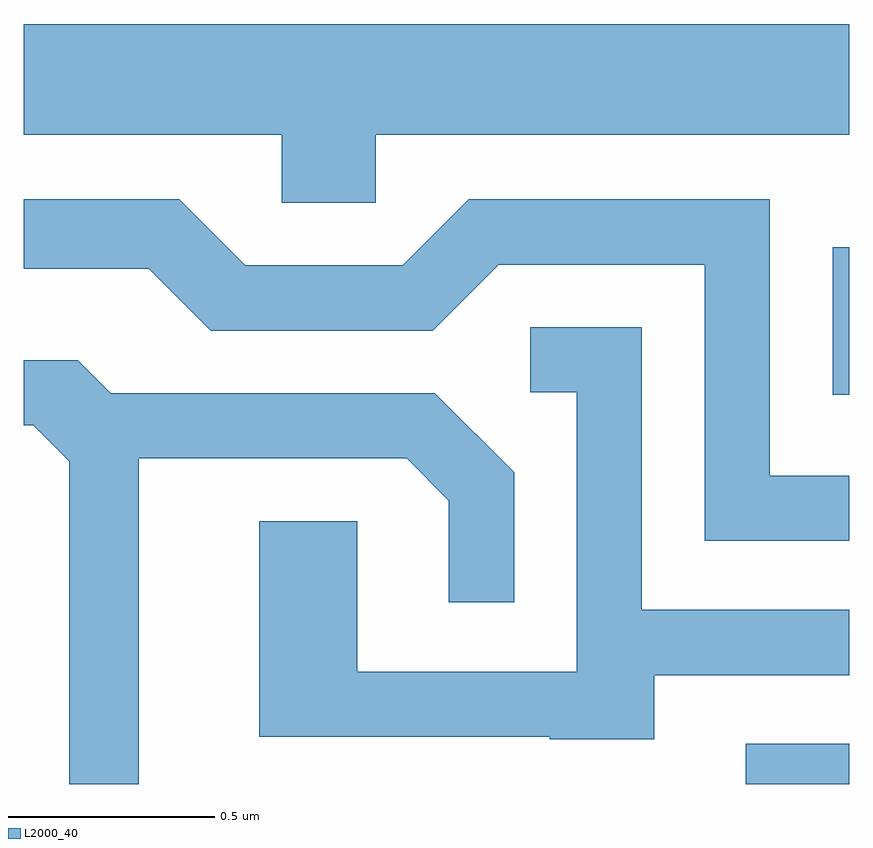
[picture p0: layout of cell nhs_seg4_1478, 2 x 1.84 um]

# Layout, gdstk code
import gdstk
lib = gdstk.Library(unit=1e-6, precision=1e-09)
def R(c, l, rs):  # rectangles x0, y0, x1, y1
    for r in rs: c.add(gdstk.rectangle(r[:2], r[2:], *l))
def P(c, l, *ps):  # polygons
    for p in ps: c.add(gdstk.Polygon(p, *l))
L2000_40 = (2000, 40)

nhs_seg4_1478 = lib.new_cell('nhs_seg4_1478')
R(nhs_seg4_1478, L2000_40, [(197.361,1361.982,197.611,1362.079), (197.571,1362.926,197.611,1363.283)])
P(nhs_seg4_1478, L2000_40, [(196.464,1363.556),(197.611,1363.556),(197.611,1363.824),(195.611,1363.824),(195.611,1363.556),(196.236,1363.556),(196.236,1363.391),(196.464,1363.391)],
  [(197.611,1362.729),(197.419,1362.729),(197.419,1363.399),(196.689,1363.399),(196.529,1363.239),(196.147,1363.239),(195.987,1363.399),(195.611,1363.399),(195.611,1363.231),(195.914,1363.231),(196.064,1363.081),(196.602,1363.081),(196.762,1363.241),(197.261,1363.241),(197.261,1362.571),(197.611,1362.571)],
  [(197.139,1362.246),(197.611,1362.246),(197.611,1362.404),(197.109,1362.404),(197.109,1363.089),(196.838,1363.089),(196.838,1362.931),(196.951,1362.931),(196.951,1362.254),(196.419,1362.254),(196.419,1362.619),(196.181,1362.619),(196.181,1362.096),(196.885,1362.096),(196.885,1362.091),(197.139,1362.091)],
  [(195.889,1362.771),(196.539,1362.771),(196.641,1362.669),(196.641,1362.423),(196.799,1362.423),(196.799,1362.737),(196.607,1362.929),(195.822,1362.929),(195.742,1363.009),(195.611,1363.009),(195.611,1362.851),(195.634,1362.851),(195.721,1362.764),(195.721,1361.982),(195.889,1361.982)])

lib.write_gds('nhs_seg4_1478.gds')
